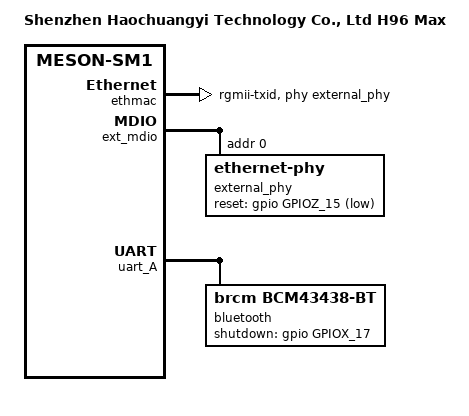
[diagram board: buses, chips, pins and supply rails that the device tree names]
// SPDX-License-Identifier: (GPL-2.0+ OR MIT)
/*
 * Copyright (c) 2019 BayLibre SAS. All rights reserved.
 * Copyright (c) 2020 Christian Hewitt <christianshewitt@gmail.com>
 */

/dts-v1/;

#include "meson-sm1-ac2xx.dtsi"

/ {
	compatible = "haochuangyi,h96-max", "amlogic,sm1";
	model = "Shenzhen Haochuangyi Technology Co., Ltd H96 Max";
};

&ethmac {
	status = "okay";

	pinctrl-0 = <&eth_pins>, <&eth_rgmii_pins>;
	pinctrl-names = "default";
	phy-mode = "rgmii-txid";
	phy-handle = <&external_phy>;

	rx-internal-delay-ps = <800>;
};

&ext_mdio {
	external_phy: ethernet-phy@0 {
		/* Realtek RTL8211F (0x001cc916) */
		reg = <0>;
		max-speed = <1000>;

		reset-assert-us = <10000>;
		reset-deassert-us = <80000>;
		reset-gpios = <&gpio GPIOZ_15 (GPIO_ACTIVE_LOW | GPIO_OPEN_DRAIN)>;

		interrupt-parent = <&gpio_intc>;
		/* MAC_INTR on GPIOZ_14 */
		interrupts = <IRQID_GPIOZ_14 IRQ_TYPE_LEVEL_LOW>;
	};
};

&uart_A {
	status = "okay";

	pinctrl-0 = <&uart_a_pins>, <&uart_a_cts_rts_pins>;
	pinctrl-names = "default";
	uart-has-rtscts;

	bluetooth {
		compatible = "brcm,bcm43438-bt";
		shutdown-gpios = <&gpio GPIOX_17 GPIO_ACTIVE_HIGH>;
		max-speed = <2000000>;
		clocks = <&wifi32k>;
		clock-names = "lpo";
	};
};
